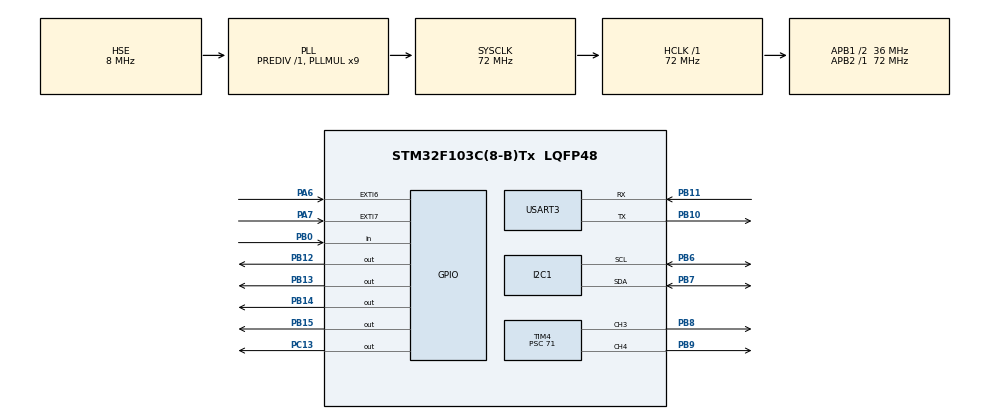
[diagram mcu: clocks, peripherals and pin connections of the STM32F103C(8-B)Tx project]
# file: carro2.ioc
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I2C1.I2C_Mode=I2C_Fast
Mcu.Family=STM32F1
Mcu.Name=STM32F103C(8-B)Tx
Mcu.Package=LQFP48
NVIC.EXTI9_5_IRQn=true\:0\:0\:false\:false\:true\:true\:true\:true
NVIC.PriorityGroup=NVIC_PRIORITYGROUP_4
PA13.Mode=Serial_Wire
PA13.Signal=SYS_JTMS-SWDIO
PA14.Mode=Serial_Wire
PA14.Signal=SYS_JTCK-SWCLK
PA6.GPIO_PuPd=GPIO_PULLUP
PA6.Signal=GPXTI6
PA7.GPIO_PuPd=GPIO_PULLUP
PA7.Signal=GPXTI7
PB0.GPIO_PuPd=GPIO_PULLUP
PB0.Signal=GPIO_Input
PB10.Mode=Asynchronous
PB10.Signal=USART3_TX
PB11.Mode=Asynchronous
PB11.Signal=USART3_RX
PB12.Signal=GPIO_Output
PB13.Signal=GPIO_Output
PB14.Signal=GPIO_Output
PB15.Signal=GPIO_Output
PB6.Mode=I2C
PB6.Signal=I2C1_SCL
PB7.Mode=I2C
PB7.Signal=I2C1_SDA
PB8.Signal=S_TIM4_CH3
PB9.Signal=S_TIM4_CH4
PC13-TAMPER-RTC.Signal=GPIO_Output
PD0-OSC_IN.Mode=HSE-External-Oscillator
PD0-OSC_IN.Signal=RCC_OSC_IN
PD1-OSC_OUT.Mode=HSE-External-Oscillator
PD1-OSC_OUT.Signal=RCC_OSC_OUT
ProjectManager.HeapSize=0x200
ProjectManager.StackSize=0x400
ProjectManager.TargetToolchain=STM32CubeIDE
RCC.AHBFreq_Value=72000000
RCC.APB1CLKDivider=RCC_HCLK_DIV2
RCC.APB1Freq_Value=36000000
RCC.APB1TimFreq_Value=72000000
RCC.APB2Freq_Value=72000000
RCC.APB2TimFreq_Value=72000000
RCC.HCLKFreq_Value=72000000
RCC.PLLMUL=RCC_PLL_MUL9
RCC.PLLSourceVirtual=RCC_PLLSOURCE_HSE
RCC.SYSCLKFreq_VALUE=72000000
RCC.SYSCLKSource=RCC_SYSCLKSOURCE_PLLCLK
RCC.USBFreq_Value=72000000
SH.S_TIM4_CH3.0=TIM4_CH3,PWM Generation3 CH3
SH.S_TIM4_CH4.0=TIM4_CH4,PWM Generation4 CH4
TIM4.Channel-PWM\ Generation3\ CH3=TIM_CHANNEL_3
TIM4.Channel-PWM\ Generation4\ CH4=TIM_CHANNEL_4
TIM4.Period=999
TIM4.Prescaler=71
USART3.VirtualMode=VM_ASYNC
board=custom

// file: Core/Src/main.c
/* USER CODE BEGIN Header */
/**
  ******************************************************************************
  * @file           : main.c
  * @brief          : Main program body
  ******************************************************************************
  * @attention
  *
  * Copyright (c) 2026 STMicroelectronics.
  * All rights reserved.
  *
  * This software is licensed under terms that can be found in the LICENSE file
  * in the root directory of this software component.
  * If no LICENSE file comes with this software, it is provided AS-IS.
  *
  ******************************************************************************
  */
/* USER CODE END Header */
#include "main.h"

/* USER CODE BEGIN Includes */
#include <stdlib.h>
#include <stdio.h>
#include <math.h>
/* USER CODE END Includes */

/* USER CODE BEGIN PTD */
typedef struct {
    float x_cm;
    float y_cm;
    float theta_deg;      /* Rumbo continuo en grados */
    float theta_enc_deg;  /* Rumbo estimado por encoders */
    float vel_izq_cms;
    float vel_der_cms;
    float yaw_rate_dps;   /* Velocidad angular vertical en grados/s */
} Odometria_State_t;

typedef struct {
    volatile int32_t  posicion;   /* Pulsos acumulados CON signo (+ adelante, - atras) */
    volatile int8_t   sentido;    /* +1 / -1 segun el ultimo sentido comandado al motor */
    volatile uint32_t t_flanco;   /* Instante (ciclos DWT) del ultimo pulso valido */
} Encoder_t;
/* USER CODE END PTD */

/* USER CODE BEGIN PD */
/* --- DIMENSIONES Y ANGULOS DE LAS FIGURAS --- */
#define LADO_CUADRADO_CM       30.0f   /* 1 Clic:  Lado del cuadrado (cm) */
#define ANGULO_CUADRADO_DEG    90.0f   /* 1 Clic:  Angulo de giro en cada esquina del cuadrado */

#define LADO_TRIANGULO_CM      30.0f   /* 2 Clics: Lado del triangulo equilatero (cm) */
#define ANGULO_TRIANGULO_DEG   120.0f  /* 2 Clics: Angulo exterior de giro del triangulo */

#define RADIO_CIRCULO_CM       18.0f   /* 3 Clics: Circulo (radio del centro del carro) */
#define LADO_PENTAGONO_CM      22.0f   /* 4 Clics: Pentagono */
#define LADO_HEXAGONO_CM       20.0f   /* 5 Clics: Hexagono */
#define LADO_OCTAGONO_CM       15.0f   /* 6 Clics: Octagono */

/* =====================================================================
 *  PERILLAS DE CALIBRACION MANUAL  (ajusta aqui si deseas afinar)
 *  7 clics: TEST recta 100 cm      -> ajusta ESCALA_AVANCE y TRIM_DER_PWM
 *  8 clics: TEST 4 x 90 en sitio   -> ajusta ANTICIP_GIRO_DEG y ESCALA_GIRO
 *  9 clics: TEST 8 x 45 en sitio   -> ajusta ESCALA_GIRO
 *  10 clics: figura libre (tabla FIGURA_LIBRE mas abajo)
 * ===================================================================== */
#define ESCALA_AVANCE       1.0f   /* Si avanza de menos, subir (ej. 1.15f); si avanza de mas, bajar */
#define ANTICIP_AVANCE_CM   1.0f    /* Se pasa de la meta en recta -> subir; se queda corto -> bajar */
#define TRIM_DER_PWM        0       /* Se curva a la DERECHA -> subir (+10); a la IZQ -> bajar (-10) */
#define ESCALA_GIRO         1.47f /* 370/360: giraba 10 grados de mas por vuelta */  /* Si gira DE MAS -> SUBIR (ej. 1.30f); si gira DE MENOS -> BAJAR (ej. 0.85f) */
#define ANTICIP_GIRO_DEG    12.0f   /* Grados antes de la meta en que frena. Si se pasa -> subir */
#define AUTOAPRENDIZAJE     0       /* 0 = fijo. Con 1 la anticipacion cambia en cada prueba y no se puede calibrar */

/* --- PARAMETROS FISICOS DEL CHASIS --- */
#define DIAMETRO_RUEDA_CM   6.5f
#define ANCHO_LLANTA_CM     2.5f
#define DIST_INTERNA_CM     11.0f
#define ANCHO_VIA_CM        (DIST_INTERNA_CM + ANCHO_LLANTA_CM) /* 13.5 cm nominal */
#define RANURAS_ENCODER     20.0f
#define PI                  3.14159265f
#define RAD2DEG             (180.0f / PI)
#define DEG2RAD             (PI / 180.0f)
#define CIRCUNFERENCIA_CM   (PI * DIAMETRO_RUEDA_CM)
#define FLANCOS_POR_VUELTA  RANURAS_ENCODER
#define CM_POR_FLANCO       (CIRCUNFERENCIA_CM / FLANCOS_POR_VUELTA)

/* --- FILTRO ANTIRREBOTE DE ENCODERS OPTICOS (LM393) --- */
/* 4.5 ms filtra el rebote sin perder pulsos reales cuando la rueda gira rapido */
#define ENC_DEBOUNCE_US     4500U
#define ENC_QUIETO_MS       200U

/* --- PWM L298N (0..999) --- */
#define PWM_MIN_MOVIMIENTO  455
#define PWM_MAX_LIMITE      920
#define PWM_FRENO           999
#define PWM_AVANCE_BASE     590
#define PWM_AVANCE_LENTO    480
#define PWM_GIRO_ARRANQUE   590     /* Impulso corto y suave solo para despegar del reposo */
#define PWM_GIRO_BASE       525     /* Velocidad de giro moderada y controlada */
#define PWM_GIRO_LENTO      465     /* Aproximacion final lenta para frenar sin pasarse */
#define PWM_CIRCULO_BASE    580

/* --- PERFILES DE MOVIMIENTO --- */
#define PERIODO_CONTROL_US  5000U   /* Lazo de control fijo a 200 Hz (5 ms) */
#define RAMPA_AVANCE_MS     200U
#define IMPULSO_GIRO_MS     35U     /* Solo 35 ms de despegue inicial */
#define DIST_FRENADO_CM     6.0f
#define ZONA_LENTA_GIRO_DEG 35.0f   /* Desacelera durante los ultimos 35 grados */
#define FRENO_AVANCE_MS     85U
#define FRENO_GIRO_MS       110U    /* Freno firme al terminar cada giro */
#define T_ASENTAR_MS        240U

/* --- GANANCIAS DE CONTROL --- */
#define KP_RUMBO            8.0f    /* Linea recta: P sobre error de rumbo */
#define KD_RUMBO            0.25f   /* Linea recta: D sobre velocidad angular (dps) */
#define KI_RUMBO            5.0f    /* Linea recta: I suave */
#define KP_SYNC_ENC         10.0f   /* Sincronizacion de pulsos si ambos encoders estan activos */
#define INTEG_RUMBO_MAX     45.0f
#define CORR_RUMBO_MAX      100.0f
#define KP_GIRO_SYNC        4.0f
#define KP_CIRC             8.0f
#define KD_CIRC             0.25f
#define KI_CIRC             8.0f
#define INTEG_CIRC_MAX      80.0f
#define CORR_CIRC_MAX       150.0f

/* --- APRENDIZAJE DE INERCIA ACOTADO --- */
#define ALPHA_APRENDIZAJE   0.25f

/* --- MPU6050 (INTEGRACION VECTORIAL 3D INVARIANTE A ORIENTACION) --- */
#define MPU6050_ADDR_LOW    (0x68 << 1)
#define MPU6050_ADDR_HIGH   (0x69 << 1)
#define GYRO_LSB_POR_DPS    32.8f   /* Escala +-1000 dps */
#define GYRO_RAW_SAT        32500
#define ALPHA_ZUPT          0.02f
#define ZUPT_UMBRAL_DPS     2.5f
#define DT_MAX_S            0.05f
#define TIMEOUT_I2C_MS      4U
#define I2C_VELOCIDAD_HZ    100000U
/* USER CODE END PD */

I2C_HandleTypeDef hi2c1;

TIM_HandleTypeDef htim4;

UART_HandleTypeDef huart3;

/* USER CODE BEGIN PV */
static Encoder_t enc_izq = {0, 1, 0};
static Encoder_t enc_der = {0, 1, 0};
static int32_t pos_izq_prev = 0;
static int32_t pos_der_prev = 0;

static uint8_t  dwt_ok = 0;
static uint32_t ciclos_por_us = 72U;
static uint32_t t_estado_ciclos = 0;
static volatile uint8_t motores_activos = 0;
static volatile int8_t  dir_giro_activo = 0;

/* Offsets en reposo de los 3 ejes del giroscopio y vector unitario 3D del eje vertical */
static uint16_t mpu_addr = MPU6050_ADDR_LOW;
float gx_offset = 0.0f;
float gy_offset = 0.0f;
float gz_offset = 0.0f;
float eje_vert_x = 1.0f;
float eje_vert_y = 0.0f;
float eje_vert_z = 0.0f;
static uint8_t eje_gyro_aprendido = 0;

/* Ultimas velocidades angulares corregidas en los 3 ejes (dps) para integracion 3D en giros */
static float gx_corr_dps = 0.0f;
static float gy_corr_dps = 0.0f;
static float gz_corr_dps = 0.0f;
static float dt_ultimo_s = 0.005f;

uint8_t mpu_conectado = 0;
static uint8_t  gyro_fallo = 0;
static uint8_t  gyro_saturado = 0;
static float    bias_yaw_dps = 0.0f;
static float    w_prev_dps = 0.0f;
static uint8_t  errores_i2c_seguidos = 0;
static uint16_t recuperaciones_i2c = 0;

/* Parametros autoajustables acotados */
static float ancho_via_eff_cm  = ANCHO_VIA_CM;
static float anticip_giro_deg  = ANTICIP_GIRO_DEG;
static float anticip_avance_cm = ANTICIP_AVANCE_CM;
static float integ_rumbo       = 0.0f;
static float rumbo_ref_deg     = 0.0f;

Odometria_State_t robot_odom = {0.0f, 0.0f, 0.0f, 0.0f, 0.0f, 0.0f, 0.0f};
/* USER CODE END PV */

void SystemClock_Config(void);
static void MX_GPIO_Init(void);
static void MX_I2C1_Init(void);
static void MX_TIM4_Init(void);
static void MX_USART3_UART_Init(void);
/* USER CODE BEGIN PFP */
uint16_t Limitar_PWM(int32_t valor_pwm, uint16_t min_pwm, uint16_t max_pwm);
void Motores_Set(int32_t pwm_izq, int32_t pwm_der);
void Motores_Detener(void);
void Motores_FrenoCorto(uint32_t ms);
void Motores_FrenoActivo(uint8_t sentido_previo);
void Motores_Avanzar(uint16_t pwm_izq, uint16_t pwm_der);
void Motores_Retroceder(uint16_t pwm_izq, uint16_t pwm_der);
void Motores_GirarDerecha(uint16_t pwm_izq, uint16_t pwm_der);
void Motores_GirarIzquierda(uint16_t pwm_izq, uint16_t pwm_der);

void MPU6050_Init(void);
uint8_t MPU6050_Calibrar(void);

void Estado_Actualizar(void);
void Odometria_Reiniciar(void);
void Avanzar_Distancia_cm(float distancia_cm);
void Girar_A_Rumbo(float rumbo_objetivo_deg);
void Girar_Grados(float grados_derecha);

void Hacer_Poligono_Regular(uint8_t num_lados, float lado_cm);
void Hacer_Cuadrado(float lado_cm);
void Hacer_Triangulo(float lado_cm);
void Hacer_Circulo(float radio_cm);
void Hacer_Pentagono(float lado_cm);
void Hacer_Hexagono(float lado_cm);
void Hacer_Octagono(float lado_cm);

uint8_t Leer_Selector_Boton(void);
void Parpadear_LED(uint8_t veces);
void Telemetria_Enviar(const char *etiqueta, int32_t indice);
/* USER CODE END PFP */

/* USER CODE BEGIN 0 */

/* ======================= 0. TIEMPO DE ALTA RESOLUCION ======================= */
static void DWT_Init(void) {
    CoreDebug->DEMCR |= CoreDebug_DEMCR_TRCENA_Msk;
    DWT->CYCCNT = 0;
    DWT->CTRL |= DWT_CTRL_CYCCNTENA_Msk;
    ciclos_por_us = SystemCoreClock / 1000000U;
    uint32_t c0 = DWT->CYCCNT;
    for (volatile uint32_t i = 0; i < 200U; i++) { }
    dwt_ok = (DWT->CYCCNT != c0) ? 1U : 0U;
}

static inline uint32_t Ciclos(void) {
    return dwt_ok ? DWT->CYCCNT : (HAL_GetTick() * (SystemCoreClock / 1000U));
}

static void Retardo_us(uint32_t us) {
    uint32_t t0 = Ciclos();
    uint32_t c = us * ciclos_por_us;
    while ((Ciclos() - t0) < c) { }
}

static void Esperar_Periodo(uint32_t *t_sig) {
    uint32_t periodo = PERIODO_CONTROL_US * ciclos_por_us;
    while ((int32_t)(Ciclos() - *t_sig) < 0) { }
    *t_sig += periodo;
    if ((int32_t)(Ciclos() - *t_sig) > 0) {
        *t_sig = Ciclos() + periodo;
    }
}

static void Esperar_Activo(uint32_t ms) {
    uint32_t t0 = HAL_GetTick();
    uint32_t t_sig = Ciclos();
    while ((HAL_GetTick() - t0) < ms) {
        Esperar_Periodo(&t_sig);
        Estado_Actualizar();
    }
}

static float Angulo_Normalizar(float a) {
    while (a > 180.0f)   a -= 360.0f;
    while (a <= -180.0f) a += 360.0f;
    return a;
}

static float Limitar_f(float v, float lim) {
    if (v > lim)  return lim;
    if (v < -lim) return -lim;
    return v;
}

static float Acotar_f(float v, float min_v, float max_v) {
    if (v < min_v) return min_v;
    if (v > max_v) return max_v;
    return v;
}

static int32_t Redondear(float v) {
    return (int32_t)((v >= 0.0f) ? (v + 0.5f) : (v - 0.5f));
}

/* ======================= 1. ENCODERS CON FILTRO ANTI-RUIDO ======================= */
static void Encoder_Flanco(Encoder_t *e, GPIO_TypeDef *puerto, uint16_t pin, uint32_t ahora) {
    if ((ahora - e->t_flanco) < (ENC_DEBOUNCE_US * ciclos_por_us)) return;

    /* Verifica que el pin permanezca en ALTO durante ~80 us para descartar picos de ruido */
    for (uint8_t muestra = 0; muestra < 3U; muestra++) {
        for (volatile uint32_t i = 0; i < 180U; i++) { }
        if (HAL_GPIO_ReadPin(puerto, pin) != GPIO_PIN_SET) return;
    }

    e->t_flanco = ahora;
    e->posicion += e->sentido;
}

void HAL_GPIO_EXTI_Callback(uint16_t GPIO_Pin) {
    uint32_t ahora = Ciclos();
    if (GPIO_Pin == GPIO_PIN_6) {
        Encoder_Flanco(&enc_izq, GPIOA, GPIO_PIN_6, ahora);
    } else if (GPIO_Pin == GPIO_PIN_7) {
        Encoder_Flanco(&enc_der, GPIOA, GPIO_PIN_7, ahora);
    }
}

static void Encoders_Configurar_UnFlanco(void) {
    GPIO_InitTypeDef g = {0};
    g.Pin = GPIO_PIN_6 | GPIO_PIN_7;
    g.Mode = GPIO_MODE_IT_RISING;
    g.Pull = GPIO_PULLUP;
    HAL_GPIO_Init(GPIOA, &g);
    enc_izq.t_flanco = Ciclos();
    enc_der.t_flanco = Ciclos();
}

static uint8_t Encoders_Quietos(uint32_t ms) {
    uint32_t lim = ms * 1000U * ciclos_por_us;
    uint32_t ahora = Ciclos();
    return ((ahora - enc_izq.t_flanco) > lim) && ((ahora - enc_der.t_flanco) > lim);
}

/* Si uno de los dos encoders cuenta menos de la mitad que el otro, usa el encoder sano */
static float Distancia_Desde(int32_t pi0, int32_t pd0) {
    int32_t di = enc_izq.posicion - pi0;
    int32_t dd = enc_der.posicion - pd0;
    int32_t ai = abs(di);
    int32_t ad = abs(dd);
    if (ai > 3 && ad * 2 < ai) return (float)di * CM_POR_FLANCO;
    if (ad > 3 && ai * 2 < ad) return (float)dd * CM_POR_FLANCO;
    return ((float)di + (float)dd) * 0.5f * CM_POR_FLANCO;
}

/* ======================= 2. BOTON Y LED ======================= */
uint8_t Leer_Selector_Boton(void) {
    uint8_t clics = 0;
    uint32_t t_ultimo_clic = 0;

    if (HAL_GPIO_ReadPin(GPIOB, GPIO_PIN_0) == GPIO_PIN_RESET) {
        HAL_Delay(45);
        if (HAL_GPIO_ReadPin(GPIOB, GPIO_PIN_0) == GPIO_PIN_RESET) {
            while (HAL_GPIO_ReadPin(GPIOB, GPIO_PIN_0) == GPIO_PIN_RESET) {
                HAL_Delay(10);
            }
            HAL_Delay(45);

            clics = 1;
            t_ultimo_clic = HAL_GetTick();

            HAL_GPIO_WritePin(GPIOC, GPIO_PIN_13, GPIO_PIN_RESET);
            HAL_Delay(60);
            HAL_GPIO_WritePin(GPIOC, GPIO_PIN_13, GPIO_PIN_SET);

            while ((HAL_GetTick() - t_ultimo_clic) < 1800U) {
                if (HAL_GPIO_ReadPin(GPIOB, GPIO_PIN_0) == GPIO_PIN_RESET) {
                    HAL_Delay(45);
                    if (HAL_GPIO_ReadPin(GPIOB, GPIO_PIN_0) == GPIO_PIN_RESET) {
                        while (HAL_GPIO_ReadPin(GPIOB, GPIO_PIN_0) == GPIO_PIN_RESET) {
                            HAL_Delay(10);
                        }
                        HAL_Delay(45);

                        clics++;
                        t_ultimo_clic = HAL_GetTick();

                        HAL_GPIO_WritePin(GPIOC, GPIO_PIN_13, GPIO_PIN_RESET);
                        HAL_Delay(60);
                        HAL_GPIO_WritePin(GPIOC, GPIO_PIN_13, GPIO_PIN_SET);
                    }
                }
            }
        }
    }
    return clics;
}

void Parpadear_LED(uint8_t veces) {
    for (uint8_t i = 0; i < veces; i++) {
        HAL_GPIO_WritePin(GPIOC, GPIO_PIN_13, GPIO_PIN_RESET);
        HAL_Delay(200);
        HAL_GPIO_WritePin(GPIOC, GPIO_PIN_13, GPIO_PIN_SET);
        HAL_Delay(200);
    }
}

/* ======================= 3. PUENTE H L298N ======================= */
uint16_t Limitar_PWM(int32_t valor_pwm, uint16_t min_pwm, uint16_t max_pwm) {
    if (valor_pwm < (int32_t)min_pwm) return min_pwm;
    if (valor_pwm > (int32_t)max_pwm) return max_pwm;
    return (uint16_t)valor_pwm;
}

void Motores_Set(int32_t pwm_izq, int32_t pwm_der) {
    if (pwm_izq > 0) {
        HAL_GPIO_WritePin(GPIOB, GPIO_PIN_12, GPIO_PIN_SET);
        HAL_GPIO_WritePin(GPIOB, GPIO_PIN_13, GPIO_PIN_RESET);
        enc_izq.sentido = 1;
    } else if (pwm_izq < 0) {
        HAL_GPIO_WritePin(GPIOB, GPIO_PIN_12, GPIO_PIN_RESET);
        HAL_GPIO_WritePin(GPIOB, GPIO_PIN_13, GPIO_PIN_SET);
        enc_izq.sentido = -1;
    } else {
        HAL_GPIO_WritePin(GPIOB, GPIO_PIN_12 | GPIO_PIN_13, GPIO_PIN_RESET);
    }

    if (pwm_der > 0) {
        HAL_GPIO_WritePin(GPIOB, GPIO_PIN_14, GPIO_PIN_SET);
        HAL_GPIO_WritePin(GPIOB, GPIO_PIN_15, GPIO_PIN_RESET);
        enc_der.sentido = 1;
    } else if (pwm_der < 0) {
        HAL_GPIO_WritePin(GPIOB, GPIO_PIN_14, GPIO_PIN_RESET);
        HAL_GPIO_WritePin(GPIOB, GPIO_PIN_15, GPIO_PIN_SET);
        enc_der.sentido = -1;
    } else {
        HAL_GPIO_WritePin(GPIOB, GPIO_PIN_14 | GPIO_PIN_15, GPIO_PIN_RESET);
    }

    uint32_t ci = (uint32_t)abs(pwm_izq);
    uint32_t cd = (uint32_t)abs(pwm_der);
    if (ci > PWM_MAX_LIMITE) ci = PWM_MAX_LIMITE;
    if (cd > PWM_MAX_LIMITE) cd = PWM_MAX_LIMITE;
    __HAL_TIM_SET_COMPARE(&htim4, TIM_CHANNEL_3, ci);
    __HAL_TIM_SET_COMPARE(&htim4, TIM_CHANNEL_4, cd);
    motores_activos = (pwm_izq != 0 || pwm_der != 0) ? 1U : 0U;
}

void Motores_Detener(void) {
    HAL_GPIO_WritePin(GPIOB, GPIO_PIN_12 | GPIO_PIN_13 | GPIO_PIN_14 | GPIO_PIN_15, GPIO_PIN_RESET);
    __HAL_TIM_SET_COMPARE(&htim4, TIM_CHANNEL_3, 0);
    __HAL_TIM_SET_COMPARE(&htim4, TIM_CHANNEL_4, 0);
    motores_activos = 0;
}

void Motores_FrenoCorto(uint32_t ms) {
    HAL_GPIO_WritePin(GPIOB, GPIO_PIN_12 | GPIO_PIN_13 | GPIO_PIN_14 | GPIO_PIN_15, GPIO_PIN_SET);
    __HAL_TIM_SET_COMPARE(&htim4, TIM_CHANNEL_3, PWM_FRENO);
    __HAL_TIM_SET_COMPARE(&htim4, TIM_CHANNEL_4, PWM_FRENO);
    motores_activos = 1;
    Esperar_Activo(ms);
    Motores_Detener();
}

void Motores_Avanzar(uint16_t pwm_izq, uint16_t pwm_der)        { Motores_Set(pwm_izq, pwm_der); }
void Motores_Retroceder(uint16_t pwm_izq, uint16_t pwm_der)     { Motores_Set(-(int32_t)pwm_izq, -(int32_t)pwm_der); }
void Motores_GirarDerecha(uint16_t pwm_izq, uint16_t pwm_der)   { Motores_Set(pwm_izq, -(int32_t)pwm_der); }
void Motores_GirarIzquierda(uint16_t pwm_izq, uint16_t pwm_der) { Motores_Set(-(int32_t)pwm_izq, pwm_der); }
void Motores_FrenoActivo(uint8_t sentido_previo) { (void)sentido_previo; Motores_FrenoCorto(FRENO_AVANCE_MS); }

/* ======================= 4. MPU-6050 VERTICAL 3D (INVARIANTE A ORIENTACION) ======================= */
static void I2C_Recuperar(void) {
    HAL_I2C_DeInit(&hi2c1);

    GPIO_InitTypeDef g = {0};
    g.Pin = GPIO_PIN_6 | GPIO_PIN_7;
    g.Mode = GPIO_MODE_OUTPUT_OD;
    g.Pull = GPIO_NOPULL;
    g.Speed = GPIO_SPEED_FREQ_HIGH;
    HAL_GPIO_WritePin(GPIOB, GPIO_PIN_6 | GPIO_PIN_7, GPIO_PIN_SET);
    HAL_GPIO_Init(GPIOB, &g);

    for (uint8_t i = 0; i < 9U; i++) {
        HAL_GPIO_WritePin(GPIOB, GPIO_PIN_6, GPIO_PIN_RESET);
        Retardo_us(10);
        HAL_GPIO_WritePin(GPIOB, GPIO_PIN_6, GPIO_PIN_SET);
        Retardo_us(10);
    }
    HAL_GPIO_WritePin(GPIOB, GPIO_PIN_6, GPIO_PIN_RESET);
    HAL_GPIO_WritePin(GPIOB, GPIO_PIN_7, GPIO_PIN_RESET);
    Retardo_us(10);
    HAL_GPIO_WritePin(GPIOB, GPIO_PIN_6, GPIO_PIN_SET);
    Retardo_us(10);
    HAL_GPIO_WritePin(GPIOB, GPIO_PIN_7, GPIO_PIN_SET);
    Retardo_us(10);

    __HAL_RCC_I2C1_CLK_ENABLE();
    __HAL_RCC_I2C1_FORCE_RESET();
    Retardo_us(20);
    __HAL_RCC_I2C1_RELEASE_RESET();
    Retardo_us(20);

    hi2c1.Init.ClockSpeed = I2C_VELOCIDAD_HZ;
    HAL_I2C_Init(&hi2c1);
}

static uint8_t MPU6050_Escribir(uint8_t reg, uint8_t valor) {
    return (HAL_I2C_Mem_Write(&hi2c1, mpu_addr, reg, 1, &valor, 1, 20) == HAL_OK) ? 1U : 0U;
}

void MPU6050_Init(void) {
    uint8_t check = 0;
    mpu_conectado = 0;

    const uint16_t dirs[2] = {MPU6050_ADDR_LOW, MPU6050_ADDR_HIGH};
    for (uint8_t intento = 0; intento < 3U; intento++) {
        for (uint8_t d = 0; d < 2U; d++) {
            mpu_addr = dirs[d];
            if (HAL_I2C_Mem_Read(&hi2c1, mpu_addr, 0x75, 1, &check, 1, 25) == HAL_OK &&
                (check != 0x00 && check != 0xFF)) {
                MPU6050_Escribir(0x6B, 0x80);
                HAL_Delay(100);
                uint8_t ok = MPU6050_Escribir(0x6B, 0x01);
                ok &= MPU6050_Escribir(0x19, 0x00);
                ok &= MPU6050_Escribir(0x1A, 0x03); /* DLPF 44 Hz */
                ok &= MPU6050_Escribir(0x1B, 0x10); /* Giroscopio +-1000 dps (32.8 LSB/dps) */
                ok &= MPU6050_Escribir(0x1C, 0x00);
                if (ok) {
                    mpu_conectado = 1;
                    gyro_fallo = 0;
                    recuperaciones_i2c = 0;
                    HAL_Delay(50);
                    return;
                }
            }
        }
        I2C_Recuperar();
        HAL_Delay(25);
    }
}

/* Calibra los offsets en reposo de los 3 ejes del giroscopio */
uint8_t MPU6050_Calibrar(void) {
    if (!mpu_conectado) return 0;

    uint8_t buf[6];
    float sg[3] = {0.0f, 0.0f, 0.0f};
    uint16_t n = 0;

    for (uint16_t i = 0; i < 200U; i++) {
        if (HAL_I2C_Mem_Read(&hi2c1, mpu_addr, 0x43, 1, buf, 6, 10) == HAL_OK) {
            int16_t rx = (int16_t)((buf[0] << 8) | buf[1]);
            int16_t ry = (int16_t)((buf[2] << 8) | buf[3]);
            int16_t rz = (int16_t)((buf[4] << 8) | buf[5]);
            sg[0] += (float)rx / GYRO_LSB_POR_DPS;
            sg[1] += (float)ry / GYRO_LSB_POR_DPS;
            sg[2] += (float)rz / GYRO_LSB_POR_DPS;
            n++;
        }
        HAL_Delay(2);
    }
    if (n < 100U) {
        I2C_Recuperar();
        return 0;
    }

    gx_offset = sg[0] / (float)n;
    gy_offset = sg[1] / (float)n;
    gz_offset = sg[2] / (float)n;
    bias_yaw_dps = 0.0f;
    w_prev_dps = 0.0f;
    gyro_fallo = 0;
    return 1U;
}

static uint8_t MPU6050_LeerGyro3D(float *w_proj) {
    uint8_t buf[6];
    if (HAL_I2C_Mem_Read(&hi2c1, mpu_addr, 0x43, 1, buf, 6, TIMEOUT_I2C_MS) != HAL_OK) {
        if (++errores_i2c_seguidos >= 3U) {
            errores_i2c_seguidos = 0;
            I2C_Recuperar();
            if (++recuperaciones_i2c > 60U) gyro_fallo = 1;
            gx_corr_dps = 0.0f;
            gy_corr_dps = 0.0f;
            gz_corr_dps = 0.0f;
        }
        return 0;
    }
    errores_i2c_seguidos = 0;

    int16_t rx = (int16_t)((buf[0] << 8) | buf[1]);
    int16_t ry = (int16_t)((buf[2] << 8) | buf[3]);
    int16_t rz = (int16_t)((buf[4] << 8) | buf[5]);
    gyro_saturado = (abs(rx) > GYRO_RAW_SAT || abs(ry) > GYRO_RAW_SAT || abs(rz) > GYRO_RAW_SAT) ? 1U : 0U;

    float gx = (((float)rx / GYRO_LSB_POR_DPS) - gx_offset) * ESCALA_GIRO;
    float gy = (((float)ry / GYRO_LSB_POR_DPS) - gy_offset) * ESCALA_GIRO;
    float gz = (((float)rz / GYRO_LSB_POR_DPS) - gz_offset) * ESCALA_GIRO;

    /* En reposo corrige lentamente cualquier deriva termica en los 3 ejes */
    uint8_t quieto = (!motores_activos) && Encoders_Quietos(ENC_QUIETO_MS);
    if (quieto && fabsf(gx) < ZUPT_UMBRAL_DPS && fabsf(gy) < ZUPT_UMBRAL_DPS && fabsf(gz) < ZUPT_UMBRAL_DPS) {
        gx_offset += ALPHA_ZUPT * (gx / ESCALA_GIRO);
        gy_offset += ALPHA_ZUPT * (gy / ESCALA_GIRO);
        gz_offset += ALPHA_ZUPT * (gz / ESCALA_GIRO);
        gx = 0.0f;
        gy = 0.0f;
        gz = 0.0f;
    }

    gx_corr_dps = gx;
    gy_corr_dps = gy;
    gz_corr_dps = gz;

    if (eje_gyro_aprendido) {
        *w_proj = (gx * eje_vert_x) + (gy * eje_vert_y) + (gz * eje_vert_z);
    } else if (dir_giro_activo != 0) {
        float mag = sqrtf(gx * gx + gy * gy + gz * gz);
        *w_proj = (mag > 1.5f) ? ((float)dir_giro_activo * mag) : 0.0f;
    } else {
        *w_proj = 0.0f;
    }
    return 1;
}

/* ======================= 5. ESTIMADOR DE ESTADO ======================= */
void Estado_Actualizar(void) {
    uint32_t ahora = Ciclos();
    float dt = (float)(ahora - t_estado_ciclos) / (float)SystemCoreClock;
    if (dt <= 0.0f) return;
    t_estado_ciclos = ahora;
    if (dt > DT_MAX_S) dt = DT_MAX_S;
    dt_ultimo_s = dt;

    int32_t pi = enc_izq.posicion;
    int32_t pd = enc_der.posicion;
    float dl = (float)(pi - pos_izq_prev) * CM_POR_FLANCO;
    float dr = (float)(pd - pos_der_prev) * CM_POR_FLANCO;
    pos_izq_prev = pi;
    pos_der_prev = pd;

    float ds = 0.5f * (dl + dr);
    float dth_enc = ((dr - dl) / ancho_via_eff_cm) * RAD2DEG;
    float dth = (mpu_conectado && !gyro_fallo) ? 0.0f : dth_enc;
    float rate = 0.0f;
    uint8_t usar_gyro = 0;

    if (mpu_conectado && !gyro_fallo) {
        float w_proj;
        if (MPU6050_LeerGyro3D(&w_proj)) {
            float dth_g = 0.5f * (w_proj + w_prev_dps) * dt;
            w_prev_dps = w_proj;

            if (!gyro_saturado && (eje_gyro_aprendido || dir_giro_activo != 0)) {
                dth = dth_g;
                rate = w_proj;
                usar_gyro = 1;
            }
        } else {
            w_prev_dps = 0.0f;
        }
    }

    float th_mid = (robot_odom.theta_deg + 0.5f * dth) * DEG2RAD;
    robot_odom.x_cm += ds * cosf(th_mid);
    robot_odom.y_cm += ds * sinf(th_mid);
    robot_odom.theta_deg += dth;
    robot_odom.theta_enc_deg += dth_enc;

    robot_odom.yaw_rate_dps = usar_gyro ? rate : (0.7f * robot_odom.yaw_rate_dps + 0.3f * rate);
    robot_odom.vel_izq_cms = 0.8f * robot_odom.vel_izq_cms + 0.2f * (dl / dt);
    robot_odom.vel_der_cms = 0.8f * robot_odom.vel_der_cms + 0.2f * (dr / dt);
}

static uint8_t Giro_Confiable(void) {
    return (mpu_conectado && !gyro_fallo) ? 1U : 0U;
}

void Odometria_Reiniciar(void) {
    Estado_Actualizar();
    robot_odom.x_cm = 0.0f;
    robot_odom.y_cm = 0.0f;
    robot_odom.theta_deg = 0.0f;
    robot_odom.theta_enc_deg = 0.0f;
    rumbo_ref_deg = 0.0f;
    integ_rumbo = 0.0f;
}

/* ======================= 6. MOVIMIENTOS REALIMENTADOS ======================= */
void Avanzar_Distancia_cm(float distancia_cm) {
    if (distancia_cm <= 0.0f) return;

    dir_giro_activo = 0;
    Estado_Actualizar();
    const int32_t pi0 = enc_izq.posicion;
    const int32_t pd0 = enc_der.posicion;
    const float dt_ctrl = (float)PERIODO_CONTROL_US * 1e-6f;

    /* Mantiene el rumbo IDEAL que fijo Hacer_Figura; solo lo descarta si es absurdo */
    if (fabsf(rumbo_ref_deg - robot_odom.theta_deg) > 20.0f || !eje_gyro_aprendido) {
        rumbo_ref_deg = robot_odom.theta_deg;
    }

    distancia_cm *= ESCALA_AVANCE;
    float meta_parada = distancia_cm - anticip_avance_cm;
    if (meta_parada < CM_POR_FLANCO) meta_parada = CM_POR_FLANCO;

    uint32_t t0 = HAL_GetTick();
    uint32_t timeout_ms = (uint32_t)(distancia_cm * 80.0f) + 1200U;
    uint32_t t_sig = Ciclos();
    float s = 0.0f;

    while (1) {
        Esperar_Periodo(&t_sig);
        Estado_Actualizar();
        s = Distancia_Desde(pi0, pd0);
        uint32_t tr = HAL_GetTick() - t0;
        if (s >= meta_parada || tr >= timeout_ms) break;

        float base = (float)PWM_AVANCE_BASE;
        if (tr < RAMPA_AVANCE_MS) {
            base = PWM_MIN_MOVIMIENTO + (PWM_AVANCE_BASE - PWM_MIN_MOVIMIENTO) * ((float)tr / RAMPA_AVANCE_MS);
        }
        float restante = meta_parada - s;
        if (restante < DIST_FRENADO_CM) {
            float b = PWM_AVANCE_LENTO + (PWM_AVANCE_BASE - PWM_AVANCE_LENTO) * (restante / DIST_FRENADO_CM);
            if (b < base) base = b;
        }

        float corr = 0.0f;
        if (eje_gyro_aprendido && Giro_Confiable()) {
            float e = Limitar_f(rumbo_ref_deg - robot_odom.theta_deg, 15.0f);
            integ_rumbo = Limitar_f(integ_rumbo + KI_RUMBO * e * dt_ctrl, INTEG_RUMBO_MAX);
            corr = Limitar_f(KP_RUMBO * e - KD_RUMBO * robot_odom.yaw_rate_dps + integ_rumbo,
                             CORR_RUMBO_MAX);
        } else {
            int32_t di = enc_izq.posicion - pi0;
            int32_t dd = enc_der.posicion - pd0;
            if (di > 3 && dd > 3 && di < 2 * dd && dd < 2 * di) {
                corr = Limitar_f((float)(di - dd) * KP_SYNC_ENC, 60.0f);
            }
        }

        Motores_Set(Limitar_PWM((int32_t)(base - corr), PWM_MIN_MOVIMIENTO, PWM_MAX_LIMITE),
                    Limitar_PWM((int32_t)(base + corr) + TRIM_DER_PWM, PWM_MIN_MOVIMIENTO, PWM_MAX_LIMITE));
    }

    float s_parada = s;
    Motores_FrenoCorto(FRENO_AVANCE_MS);
    Esperar_Activo(T_ASENTAR_MS);
    s = Distancia_Desde(pi0, pd0);

    float inercia = s - s_parada;
    if (AUTOAPRENDIZAJE && s_parada >= meta_parada && inercia >= 0.0f && inercia < 5.0f) {
        anticip_avance_cm = (1.0f - ALPHA_APRENDIZAJE) * anticip_avance_cm + ALPHA_APRENDIZAJE * inercia;
        anticip_avance_cm = Acotar_f(anticip_avance_cm, 0.3f, 3.0f);
    }
}

/* Gira un angulo relativo controlado a velocidad moderada (+ = derecha, - = izquierda) */
void Girar_Grados(float grados_derecha) {
    float meta_deg = fabsf(grados_derecha);
    if (meta_deg <= 2.0f) return;

    HAL_GPIO_WritePin(GPIOC, GPIO_PIN_13, GPIO_PIN_RESET);
    Estado_Actualizar();

    const float dir = (grados_derecha > 0.0f) ? -1.0f : 1.0f;
    dir_giro_activo = (grados_derecha > 0.0f) ? -1 : 1;

    const int32_t pi0 = enc_izq.posicion;
    const int32_t pd0 = enc_der.posicion;
    const float th0 = robot_odom.theta_deg;

    float anticip = anticip_giro_deg;
    if (anticip > 0.35f * meta_deg) anticip = 0.35f * meta_deg;
    float objetivo_parada = meta_deg - anticip;

    float ang_x = 0.0f;
    float ang_y = 0.0f;
    float ang_z = 0.0f;
    float girado_deg = 0.0f;
    float girado_prev_check = 0.0f;
    int32_t pulsos_prev_check = 0;
    float pwm_boost = 0.0f;

    uint32_t t0 = HAL_GetTick();
    uint32_t t_check = t0;
    uint32_t timeout_ms = (uint32_t)(meta_deg * 25.0f) + 900U;
    uint32_t t_sig = Ciclos();

    while (1) {
        Esperar_Periodo(&t_sig);
        Estado_Actualizar();

        ang_x += gx_corr_dps * dt_ultimo_s;
        ang_y += gy_corr_dps * dt_ultimo_s;
        ang_z += gz_corr_dps * dt_ultimo_s;
        float girado_gyro_3d = sqrtf(ang_x * ang_x + ang_y * ang_y + ang_z * ang_z);

        int32_t a_i = abs(enc_izq.posicion - pi0);
        int32_t a_d = abs(enc_der.posicion - pd0);
        int32_t pulsos_max = (a_i > a_d) ? a_i : a_d;
        int32_t pulsos_ref = (a_i > 2 && a_d > 2 && a_i < 2 * a_d && a_d < 2 * a_i)
                           ? ((a_i + a_d) / 2) : pulsos_max;
        float girado_enc = (((2.0f * (float)pulsos_ref * CM_POR_FLANCO) / ancho_via_eff_cm) * RAD2DEG) * ESCALA_GIRO;

        /* Usa la lectura mayor entre giroscopio 3D y encoders para nunca pasarse de giro */
        if (Giro_Confiable() && girado_gyro_3d >= girado_enc) {
            girado_deg = girado_gyro_3d;
        } else {
            girado_deg = girado_enc;
        }

        uint32_t ahora_ms = HAL_GetTick();
        uint32_t tr = ahora_ms - t0;
        if (girado_deg >= objetivo_parada || tr >= timeout_ms) break;

        /* Anti-atasco suave: solo actua si ni el giroscopio ni los encoders registran movimiento */
        if ((ahora_ms - t_check) >= 160U) {
            if ((girado_deg - girado_prev_check) < 2.0f && pulsos_max == pulsos_prev_check) {
                pwm_boost += 30.0f;
                if (pwm_boost > 110.0f) pwm_boost = 110.0f;
            } else {
                pwm_boost = 0.0f; /* Ya se esta moviendo: quita el empuje extra de inmediato */
            }
            girado_prev_check = girado_deg;
            pulsos_prev_check = pulsos_max;
            t_check = ahora_ms;
        }

        float restante = meta_deg - girado_deg;
        float base;
        if (tr < IMPULSO_GIRO_MS && meta_deg > 25.0f) {
            base = (float)PWM_GIRO_ARRANQUE;
        } else if (restante >= ZONA_LENTA_GIRO_DEG) {
            base = (float)PWM_GIRO_BASE;
        } else {
            base = PWM_GIRO_LENTO + (PWM_GIRO_BASE - PWM_GIRO_LENTO) * (restante / ZONA_LENTA_GIRO_DEG);
        }
        base += pwm_boost;

        int32_t diff = 0;
        if (a_i > 2 && a_d > 2 && a_i < 2 * a_d && a_d < 2 * a_i) {
            diff = a_i - a_d;
            if (diff > 4)  diff = 4;
            if (diff < -4) diff = -4;
        }

        int32_t m_i = Limitar_PWM((int32_t)(base - diff * KP_GIRO_SYNC), PWM_MIN_MOVIMIENTO, PWM_MAX_LIMITE);
        int32_t m_d = Limitar_PWM((int32_t)(base + diff * KP_GIRO_SYNC), PWM_MIN_MOVIMIENTO, PWM_MAX_LIMITE);
        Motores_Set((int32_t)(-dir) * m_i, (int32_t)dir * m_d);
    }

    float girado_parada = girado_deg;
    Motores_FrenoCorto(FRENO_GIRO_MS);

    uint32_t t_asentar0 = HAL_GetTick();
    uint32_t t_sig_a = Ciclos();
    while ((HAL_GetTick() - t_asentar0) < T_ASENTAR_MS) {
        Esperar_Periodo(&t_sig_a);
        Estado_Actualizar();
        ang_x += gx_corr_dps * dt_ultimo_s;
        ang_y += gy_corr_dps * dt_ultimo_s;
        ang_z += gz_corr_dps * dt_ultimo_s;
    }
    dir_giro_activo = 0;

    float girado_gyro_final = sqrtf(ang_x * ang_x + ang_y * ang_y + ang_z * ang_z);

    if (Giro_Confiable() && girado_gyro_final > 35.0f) {
        float ux = dir * (ang_x / girado_gyro_final);
        float uy = dir * (ang_y / girado_gyro_final);
        float uz = dir * (ang_z / girado_gyro_final);
        if (!eje_gyro_aprendido) {
            eje_vert_x = ux;
            eje_vert_y = uy;
            eje_vert_z = uz;
            eje_gyro_aprendido = 1U;
        } else {
            eje_vert_x = 0.80f * eje_vert_x + 0.20f * ux;
            eje_vert_y = 0.80f * eje_vert_y + 0.20f * uy;
            eje_vert_z = 0.80f * eje_vert_z + 0.20f * uz;
            float n = sqrtf(eje_vert_x * eje_vert_x + eje_vert_y * eje_vert_y + eje_vert_z * eje_vert_z);
            if (n > 0.1f) {
                eje_vert_x /= n;
                eje_vert_y /= n;
                eje_vert_z /= n;
            }
        }
        robot_odom.theta_deg = th0 + dir * girado_gyro_final;
    }

    float girado_final = (Giro_Confiable() && girado_gyro_final > girado_parada) ? girado_gyro_final : girado_parada;
    float inercia = girado_final - girado_parada;
    if (AUTOAPRENDIZAJE && girado_parada >= objetivo_parada && inercia >= 0.0f && inercia < 22.0f) {
        anticip_giro_deg = (1.0f - ALPHA_APRENDIZAJE) * anticip_giro_deg + ALPHA_APRENDIZAJE * inercia;
        anticip_giro_deg = Acotar_f(anticip_giro_deg, 2.0f, 18.0f);
    }

    rumbo_ref_deg = robot_odom.theta_deg;
    HAL_GPIO_WritePin(GPIOC, GPIO_PIN_13, GPIO_PIN_SET);
}

void Girar_A_Rumbo(float rumbo_objetivo_deg) {
    Estado_Actualizar();
    float e0 = Angulo_Normalizar(rumbo_objetivo_deg - robot_odom.theta_deg);
    Girar_Grados(-e0);

    /* Un solo retoque si quedo a mas de 4 grados del rumbo objetivo */
    Estado_Actualizar();
    float e1 = Angulo_Normalizar(rumbo_objetivo_deg - robot_odom.theta_deg);
    if (fabsf(e1) > 4.0f) {
        Girar_Grados(-e1);
    }
}

/* ======================= 7. FIGURAS GEOMETRICAS ======================= */
typedef struct {
    float avanzar_cm;
    float girar_der_deg;
} Paso_t;

/* FIGURA LIBRE (10 clics): edita esta tabla para dibujar lo que quieras */
static const Paso_t FIGURA_LIBRE[] = {
    {40.0f, 90.0f},
    {20.0f, 90.0f},
    {40.0f, 90.0f},
    {20.0f, 90.0f},
};

/* Rumbos ABSOLUTOS: si un vertice se pasa o se queda corto, el siguiente giro lo compensa
   y el error NO se acumula vuelta tras vuelta */
void Hacer_Figura(const Paso_t *pasos, uint8_t n) {
    Odometria_Reiniciar();
    float rumbo_obj = 0.0f;   /* + = izquierda (convencion de theta) */
    for (uint8_t i = 0; i < n; i++) {
        rumbo_ref_deg = rumbo_obj;
        Avanzar_Distancia_cm(pasos[i].avanzar_cm);
        if (pasos[i].girar_der_deg != 0.0f) {
            rumbo_obj -= pasos[i].girar_der_deg;
            Girar_A_Rumbo(rumbo_obj);
            rumbo_ref_deg = rumbo_obj;
        }
        Telemetria_Enviar("VERTICE", (int32_t)(i + 1U));
    }
}

void Hacer_Poligono_Regular(uint8_t num_lados, float lado_cm) {
    if (num_lados < 3U || num_lados > 12U) return;
    Paso_t p[12];
    for (uint8_t i = 0; i < num_lados; i++) {
        p[i].avanzar_cm = lado_cm;
        p[i].girar_der_deg = 360.0f / (float)num_lados;
    }
    Hacer_Figura(p, num_lados);
}

void Hacer_Cuadrado(float lado_cm) {
    Paso_t p[4];
    for (uint8_t i = 0; i < 4U; i++) {
        p[i].avanzar_cm = lado_cm;
        p[i].girar_der_deg = ANGULO_CUADRADO_DEG;
    }
    Hacer_Figura(p, 4U);
}

void Hacer_Triangulo(float lado_cm) {
    Paso_t p[3];
    for (uint8_t i = 0; i < 3U; i++) {
        p[i].avanzar_cm = lado_cm;
        p[i].girar_der_deg = ANGULO_TRIANGULO_DEG;
    }
    Hacer_Figura(p, 3U);
}

void Hacer_Pentagono(float lado_cm)  { Hacer_Poligono_Regular(5, lado_cm); }
void Hacer_Hexagono(float lado_cm)   { Hacer_Poligono_Regular(6, lado_cm); }
void Hacer_Octagono(float lado_cm)   { Hacer_Poligono_Regular(8, lado_cm); }

/* --- PRUEBAS DE CALIBRACION --- */
void Test_Recta(void) {                 /* 7 clics: debe recorrer 100 cm derecho */
    Odometria_Reiniciar();
    Avanzar_Distancia_cm(100.0f);
}

void Test_Giros(uint8_t n) {            /* 8 clics: 4x90, 9 clics: 8x45 */
    Odometria_Reiniciar();
    float paso_deg = 360.0f / (float)n;
    float rumbo_obj = 0.0f;
    for (uint8_t i = 0; i < n; i++) {
        rumbo_obj -= paso_deg;
        Girar_A_Rumbo(rumbo_obj);   /* Absoluto: el error que quede es SOLO de escala del giroscopio */
        Telemetria_Enviar("GIRO", (int32_t)(i + 1U));
        Esperar_Activo(300);
    }
}

void Hacer_Circulo(float radio_cm) {
    Odometria_Reiniciar();

    const float W = ancho_via_eff_cm;
    if (radio_cm < 0.6f * W) radio_cm = 0.6f * W;
    const float k_ext = (radio_cm + 0.5f * W) / radio_cm;
    const float k_int = (radio_cm - 0.5f * W) / radio_cm;
    const float perimetro = 2.0f * PI * radio_cm;
    const float meta = perimetro - anticip_avance_cm;
    const float th0 = robot_odom.theta_deg;
    const int32_t pi0 = enc_izq.posicion;
    const int32_t pd0 = enc_der.posicion;
    const float dt_ctrl = (float)PERIODO_CONTROL_US * 1e-6f;

    float integ = 0.0f;
    float ang_x = 0.0f, ang_y = 0.0f, ang_z = 0.0f;
    uint32_t t0 = HAL_GetTick();
    uint32_t t_sig = Ciclos();

    dir_giro_activo = -1;
    HAL_GPIO_WritePin(GPIOC, GPIO_PIN_13, GPIO_PIN_RESET);

    while (1) {
        Esperar_Periodo(&t_sig);
        Estado_Actualizar();
        ang_x += gx_corr_dps * dt_ultimo_s;
        ang_y += gy_corr_dps * dt_ultimo_s;
        ang_z += gz_corr_dps * dt_ultimo_s;

        float s = Distancia_Desde(pi0, pd0);
        uint32_t tr = HAL_GetTick() - t0;
        float girado_3d = sqrtf(ang_x * ang_x + ang_y * ang_y + ang_z * ang_z);
        if (s >= meta || girado_3d >= 360.0f || tr > 15000U) break;

        float base = (float)PWM_CIRCULO_BASE;
        if (tr < RAMPA_AVANCE_MS) {
            base = PWM_MIN_MOVIMIENTO + (PWM_CIRCULO_BASE - PWM_MIN_MOVIMIENTO) * ((float)tr / RAMPA_AVANCE_MS);
        }

        float th_actual = Giro_Confiable() ? (th0 - girado_3d) : robot_odom.theta_deg;
        float th_des = th0 - (s / radio_cm) * RAD2DEG;
        float v_c = 0.5f * (robot_odom.vel_izq_cms + robot_odom.vel_der_cms);
        float w_des = -(v_c / radio_cm) * RAD2DEG;
        float e = Limitar_f(th_des - th_actual, 25.0f);

        integ = Limitar_f(integ + KI_CIRC * e * dt_ctrl, INTEG_CIRC_MAX);
        float corr = Limitar_f(KP_CIRC * e + KD_CIRC * (w_des - robot_odom.yaw_rate_dps) + integ,
                               CORR_CIRC_MAX);

        float m_i = PWM_MIN_MOVIMIENTO + (base - PWM_MIN_MOVIMIENTO) * k_ext - corr;
        float m_d = PWM_MIN_MOVIMIENTO + (base - PWM_MIN_MOVIMIENTO) * k_int + corr;

        Motores_Set(Limitar_PWM((int32_t)m_i, PWM_MIN_MOVIMIENTO, PWM_MAX_LIMITE),
                    Limitar_PWM((int32_t)m_d, PWM_MIN_MOVIMIENTO - 30, PWM_MAX_LIMITE));
    }

    dir_giro_activo = 0;
    Motores_FrenoCorto(FRENO_AVANCE_MS);
    Esperar_Activo(T_ASENTAR_MS);
    HAL_GPIO_WritePin(GPIOC, GPIO_PIN_13, GPIO_PIN_SET);
}

/* ======================= 8. TELEMETRIA POR USART3 (115200) ======================= */
void Telemetria_Enviar(const char *etiqueta, int32_t indice) {
    char buf[200];
    int n = snprintf(buf, sizeof(buf),
        "%s,%ld,x_mm=%ld,y_mm=%ld,th_x10=%ld,thEnc_x10=%ld,W_x100=%ld,antG_x10=%ld,antA_mm=%ld,"
        "trim=%ld,bias_mdps=%ld,gyro=%u,eje=%u\r\n",
        etiqueta, (long)indice,
        (long)Redondear(robot_odom.x_cm * 10.0f),
        (long)Redondear(robot_odom.y_cm * 10.0f),
        (long)Redondear(robot_odom.theta_deg * 10.0f),
        (long)Redondear(robot_odom.theta_enc_deg * 10.0f),
        (long)Redondear(ancho_via_eff_cm * 100.0f),
        (long)Redondear(anticip_giro_deg * 10.0f),
        (long)Redondear(anticip_avance_cm * 10.0f),
        (long)Redondear(integ_rumbo),
        (long)Redondear(bias_yaw_dps * 1000.0f),
        (unsigned)Giro_Confiable(),
        (unsigned)eje_gyro_aprendido);
    if (n > 0) {
        if (n > (int)sizeof(buf)) n = (int)sizeof(buf);
        HAL_UART_Transmit(&huart3, (uint8_t *)buf, (uint16_t)n, 50);
    }
}
/* USER CODE END 0 */

int main(void)
{

  /* MCU Configuration--------------------------------------------------------*/

  /* Reset of all peripherals, Initializes the Flash interface and the Systick. */
  HAL_Init();

  /* Configure the system clock */
  SystemClock_Config();

  /* Initialize all configured peripherals */
  MX_GPIO_Init();
  MX_I2C1_Init();
  MX_TIM4_Init();
  MX_USART3_UART_Init();
  /* USER CODE BEGIN 2 */
  HAL_GPIO_WritePin(GPIOC, GPIO_PIN_13, GPIO_PIN_SET); /* LED apagado */

  DWT_Init();
  Encoders_Configurar_UnFlanco();

  HAL_TIM_PWM_Start(&htim4, TIM_CHANNEL_3);
  HAL_TIM_PWM_Start(&htim4, TIM_CHANNEL_4);
  Motores_Detener();

  /* Mantener el carro QUIETO al encender */
  HAL_Delay(500);
  MPU6050_Init();

  if (mpu_conectado) {
      MPU6050_Calibrar();
      Parpadear_LED(2);
  } else {
      Parpadear_LED(5);
  }
  t_estado_ciclos = Ciclos();
  pos_izq_prev = enc_izq.posicion;
  pos_der_prev = enc_der.posicion;
  Telemetria_Enviar("INICIO", (int32_t)mpu_conectado);
  /* USER CODE END 2 */

  /* Infinite loop */
  /* USER CODE BEGIN WHILE */
  while (1)
  {
      uint8_t opcion = Leer_Selector_Boton();

      if (opcion > 0) {
          Parpadear_LED(opcion);
          HAL_Delay(1000);

          if (mpu_conectado) {
              MPU6050_Calibrar();
          }

          if (opcion == 1) {
              Hacer_Cuadrado(LADO_CUADRADO_CM);
          }
          else if (opcion == 2) {
              Hacer_Triangulo(LADO_TRIANGULO_CM);
          }
          else if (opcion == 3) {
              Hacer_Circulo(RADIO_CIRCULO_CM);
          }
          else if (opcion == 4) {
              Hacer_Pentagono(LADO_PENTAGONO_CM);
          }
          else if (opcion == 5) {
              Hacer_Hexagono(LADO_HEXAGONO_CM);
          }
          else if (opcion == 6) {
              Hacer_Octagono(LADO_OCTAGONO_CM);
          }
          else if (opcion == 7) {
              Test_Recta();
          }
          else if (opcion == 8) {
              Test_Giros(4);
          }
          else if (opcion == 9) {
              Test_Giros(8);
          }
          else {
              Hacer_Figura(FIGURA_LIBRE, (uint8_t)(sizeof(FIGURA_LIBRE) / sizeof(FIGURA_LIBRE[0])));
          }

          Telemetria_Enviar("FIN", (int32_t)opcion);
          Parpadear_LED(2);
      }
    /* USER CODE END WHILE */

  }
}

void SystemClock_Config(void)
{
  RCC_OscInitTypeDef RCC_OscInitStruct = {0};
  RCC_ClkInitTypeDef RCC_ClkInitStruct = {0};

  /** Initializes the RCC Oscillators according to the specified parameters
  * in the RCC_OscInitTypeDef structure.
  */
  RCC_OscInitStruct.OscillatorType = RCC_OSCILLATORTYPE_HSE;
  RCC_OscInitStruct.HSEState = RCC_HSE_ON;
  RCC_OscInitStruct.HSEPredivValue = RCC_HSE_PREDIV_DIV1;
  RCC_OscInitStruct.HSIState = RCC_HSI_ON;
  RCC_OscInitStruct.PLL.PLLState = RCC_PLL_ON;
  RCC_OscInitStruct.PLL.PLLSource = RCC_PLLSOURCE_HSE;
  RCC_OscInitStruct.PLL.PLLMUL = RCC_PLL_MUL9;
  if (HAL_RCC_OscConfig(&RCC_OscInitStruct) != HAL_OK)
  {
    Error_Handler();
  }

  /** Initializes the CPU, AHB and APB buses clocks
  */
  RCC_ClkInitStruct.ClockType = RCC_CLOCKTYPE_HCLK|RCC_CLOCKTYPE_SYSCLK
                              |RCC_CLOCKTYPE_PCLK1|RCC_CLOCKTYPE_PCLK2;
  RCC_ClkInitStruct.SYSCLKSource = RCC_SYSCLKSOURCE_PLLCLK;
  RCC_ClkInitStruct.AHBCLKDivider = RCC_SYSCLK_DIV1;
  RCC_ClkInitStruct.APB1CLKDivider = RCC_HCLK_DIV2;
  RCC_ClkInitStruct.APB2CLKDivider = RCC_HCLK_DIV1;

  if (HAL_RCC_ClockConfig(&RCC_ClkInitStruct, FLASH_LATENCY_2) != HAL_OK)
  {
    Error_Handler();
  }
}

static void MX_I2C1_Init(void)
{

  hi2c1.Instance = I2C1;
  hi2c1.Init.ClockSpeed = 100000;
  hi2c1.Init.DutyCycle = I2C_DUTYCYCLE_2;
  hi2c1.Init.OwnAddress1 = 0;
  hi2c1.Init.AddressingMode = I2C_ADDRESSINGMODE_7BIT;
  hi2c1.Init.DualAddressMode = I2C_DUALADDRESS_DISABLE;
  hi2c1.Init.OwnAddress2 = 0;
  hi2c1.Init.GeneralCallMode = I2C_GENERALCALL_DISABLE;
  hi2c1.Init.NoStretchMode = I2C_NOSTRETCH_DISABLE;
  if (HAL_I2C_Init(&hi2c1) != HAL_OK)
  {
    Error_Handler();
  }

}

static void MX_TIM4_Init(void)
{

  TIM_MasterConfigTypeDef sMasterConfig = {0};
  TIM_OC_InitTypeDef sConfigOC = {0};

  htim4.Instance = TIM4;
  htim4.Init.Prescaler = 71;
  htim4.Init.CounterMode = TIM_COUNTERMODE_UP;
  htim4.Init.Period = 999;
  htim4.Init.ClockDivision = TIM_CLOCKDIVISION_DIV1;
  htim4.Init.AutoReloadPreload = TIM_AUTORELOAD_PRELOAD_DISABLE;
  if (HAL_TIM_PWM_Init(&htim4) != HAL_OK)
  {
    Error_Handler();
  }
  sMasterConfig.MasterOutputTrigger = TIM_TRGO_RESET;
  sMasterConfig.MasterSlaveMode = TIM_MASTERSLAVEMODE_DISABLE;
  if (HAL_TIMEx_MasterConfigSynchronization(&htim4, &sMasterConfig) != HAL_OK)
  {
    Error_Handler();
  }
  sConfigOC.OCMode = TIM_OCMODE_PWM1;
  sConfigOC.Pulse = 0;
  sConfigOC.OCPolarity = TIM_OCPOLARITY_HIGH;
  sConfigOC.OCFastMode = TIM_OCFAST_DISABLE;
  if (HAL_TIM_PWM_ConfigChannel(&htim4, &sConfigOC, TIM_CHANNEL_3) != HAL_OK)
  {
    Error_Handler();
  }
  if (HAL_TIM_PWM_ConfigChannel(&htim4, &sConfigOC, TIM_CHANNEL_4) != HAL_OK)
  {
    Error_Handler();
  }
  HAL_TIM_MspPostInit(&htim4);

}

static void MX_USART3_UART_Init(void)
{

  huart3.Instance = USART3;
  huart3.Init.BaudRate = 115200;
  huart3.Init.WordLength = UART_WORDLENGTH_8B;
  huart3.Init.StopBits = UART_STOPBITS_1;
  huart3.Init.Parity = UART_PARITY_NONE;
  huart3.Init.Mode = UART_MODE_TX_RX;
  huart3.Init.HwFlowCtl = UART_HWCONTROL_NONE;
  huart3.Init.OverSampling = UART_OVERSAMPLING_16;
  if (HAL_UART_Init(&huart3) != HAL_OK)
  {
    Error_Handler();
  }

}

static void MX_GPIO_Init(void)
{
  GPIO_InitTypeDef GPIO_InitStruct = {0};

  /* GPIO Ports Clock Enable */
  __HAL_RCC_GPIOC_CLK_ENABLE();
  __HAL_RCC_GPIOD_CLK_ENABLE();
  __HAL_RCC_GPIOA_CLK_ENABLE();
  __HAL_RCC_GPIOB_CLK_ENABLE();

  /*Configure GPIO pin Output Level */
  HAL_GPIO_WritePin(GPIOC, GPIO_PIN_13, GPIO_PIN_RESET);

  /*Configure GPIO pin Output Level */
  HAL_GPIO_WritePin(GPIOB, GPIO_PIN_12|GPIO_PIN_13|GPIO_PIN_14|GPIO_PIN_15, GPIO_PIN_RESET);

  /*Configure GPIO pin : PC13 */
  GPIO_InitStruct.Pin = GPIO_PIN_13;
  GPIO_InitStruct.Mode = GPIO_MODE_OUTPUT_PP;
  GPIO_InitStruct.Pull = GPIO_NOPULL;
  GPIO_InitStruct.Speed = GPIO_SPEED_FREQ_LOW;
  HAL_GPIO_Init(GPIOC, &GPIO_InitStruct);

  /*Configure GPIO pins : PA6 PA7 */
  GPIO_InitStruct.Pin = GPIO_PIN_6|GPIO_PIN_7;
  GPIO_InitStruct.Mode = GPIO_MODE_IT_RISING;
  GPIO_InitStruct.Pull = GPIO_PULLUP;
  HAL_GPIO_Init(GPIOA, &GPIO_InitStruct);

  /*Configure GPIO pin : PB0 */
  GPIO_InitStruct.Pin = GPIO_PIN_0;
  GPIO_InitStruct.Mode = GPIO_MODE_INPUT;
  GPIO_InitStruct.Pull = GPIO_PULLUP;
  HAL_GPIO_Init(GPIOB, &GPIO_InitStruct);

  /*Configure GPIO pins : PB12 PB13 PB14 PB15 */
  GPIO_InitStruct.Pin = GPIO_PIN_12|GPIO_PIN_13|GPIO_PIN_14|GPIO_PIN_15;
  GPIO_InitStruct.Mode = GPIO_MODE_OUTPUT_PP;
  GPIO_InitStruct.Pull = GPIO_NOPULL;
  GPIO_InitStruct.Speed = GPIO_SPEED_FREQ_LOW;
  HAL_GPIO_Init(GPIOB, &GPIO_InitStruct);

  /* EXTI interrupt init*/
  HAL_NVIC_SetPriority(EXTI9_5_IRQn, 0, 0);
  HAL_NVIC_EnableIRQ(EXTI9_5_IRQn);

}

void Error_Handler(void)
{
  __disable_irq();
  while (1)
  {
  }
}
